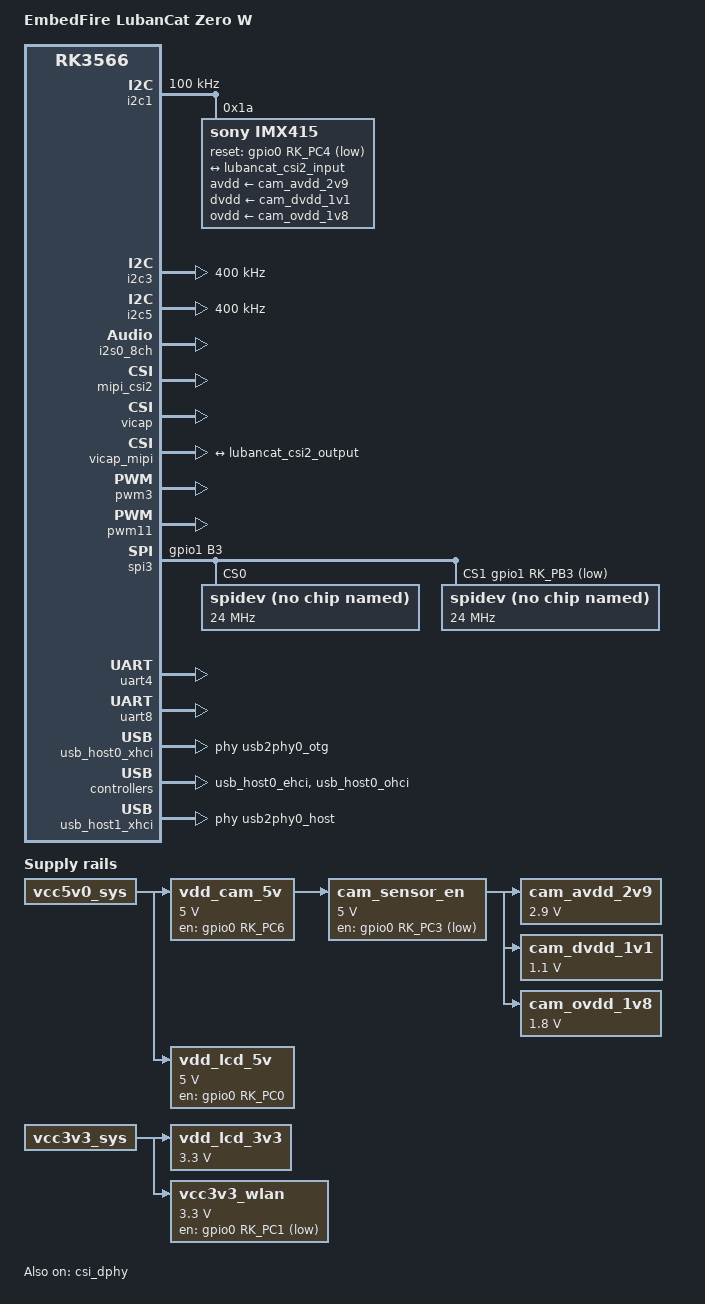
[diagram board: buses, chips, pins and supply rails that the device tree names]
// SPDX-License-Identifier: (GPL-2.0+ OR MIT)
/dts-v1/;
#include <dt-bindings/media/video-interfaces.h>
#include "rk3566-lubancat-1.dts"

/*
 * LubanCat Zero W shares the RK809 power tree with LubanCat 1, but has a
 * different peripheral layout.  In particular it has no eMMC, Ethernet or
 * PCIe connector.  Its TL8821CUB WLAN/BT module is attached to USB_HOST2.
 */

/delete-node/ &gmac1_clkin;
/delete-node/ &vcc3v3_pcie;
/delete-node/ &vcc5v0_usb20_host;
/delete-node/ &vcc5v0_usb30_host;

/ {
	model = "EmbedFire LubanCat Zero W";
	compatible = "embedfire,lubancat-zero-w", "embedfire,lubancat-zero",
		     "rockchip,rk3566";

	aliases {
		/delete-property/ ethernet0;
		/delete-property/ mmc1;
	};

	/*
	 * PWM0_M1 is routed to the backlight pin on the DSI connector.  A panel
	 * description must enable this node because brightness curves and panel
	 * initialization sequences are panel specific.
	 */
	dsi_backlight: backlight {
		compatible = "pwm-backlight";
		power-supply = <&vdd_lcd_5v>;
		pwms = <&pwm0 0 50000 0>;
		status = "disabled";
	};

	imx415_clk: clock-imx415 {
		compatible = "fixed-clock";
		#clock-cells = <0>;
		clock-frequency = <37125000>;
		clock-output-names = "imx415_xvclk";
	};

	/* Switched 5 V rail routed to the MIPI-CSI connector. */
	vdd_cam_5v: regulator-vdd-cam-5v {
		compatible = "regulator-fixed";
		enable-active-high;
		gpio = <&gpio0 RK_PC6 GPIO_ACTIVE_HIGH>;
		pinctrl-names = "default";
		pinctrl-0 = <&cam_pwr_en>;
		regulator-name = "vdd_cam_5v";
		regulator-min-microvolt = <5000000>;
		regulator-max-microvolt = <5000000>;
		startup-delay-us = <5000>;
		vin-supply = <&vcc5v0_sys>;
	};

	/* CAM_PWDN is active high, so low enables the camera module. */
	cam_sensor_en: regulator-camera-enable {
		compatible = "regulator-fixed";
		gpio = <&gpio0 RK_PC3 GPIO_ACTIVE_LOW>;
		pinctrl-names = "default";
		pinctrl-0 = <&cam_pwdn>;
		regulator-name = "cam_sensor_enable";
		regulator-min-microvolt = <5000000>;
		regulator-max-microvolt = <5000000>;
		vin-supply = <&vdd_cam_5v>;
	};

	/* The IMX415 module derives its sensor rails from the connector's 5 V. */
	cam_avdd_2v9: regulator-camera-avdd {
		compatible = "regulator-fixed";
		regulator-name = "cam_avdd_2v9";
		regulator-min-microvolt = <2900000>;
		regulator-max-microvolt = <2900000>;
		vin-supply = <&cam_sensor_en>;
	};

	cam_dvdd_1v1: regulator-camera-dvdd {
		compatible = "regulator-fixed";
		regulator-name = "cam_dvdd_1v1";
		regulator-min-microvolt = <1100000>;
		regulator-max-microvolt = <1100000>;
		vin-supply = <&cam_sensor_en>;
	};

	cam_ovdd_1v8: regulator-camera-ovdd {
		compatible = "regulator-fixed";
		regulator-name = "cam_ovdd_1v8";
		regulator-min-microvolt = <1800000>;
		regulator-max-microvolt = <1800000>;
		vin-supply = <&cam_sensor_en>;
	};

	/* 5 V rail for an optional MIPI-DSI panel. */
	vdd_lcd_5v: regulator-vdd-lcd-5v {
		compatible = "regulator-fixed";
		enable-active-high;
		gpio = <&gpio0 RK_PC0 GPIO_ACTIVE_HIGH>;
		pinctrl-names = "default";
		pinctrl-0 = <&lcd_pwr_en>;
		regulator-name = "vdd_lcd_5v";
		regulator-min-microvolt = <5000000>;
		regulator-max-microvolt = <5000000>;
		vin-supply = <&vcc5v0_sys>;
	};

	/* The connector's 3.3 V rail is enabled in hardware. */
	vdd_lcd_3v3: regulator-vdd-lcd-3v3 {
		compatible = "regulator-fixed";
		regulator-always-on;
		regulator-boot-on;
		regulator-name = "vdd_lcd_3v3";
		regulator-min-microvolt = <3300000>;
		regulator-max-microvolt = <3300000>;
		vin-supply = <&vcc3v3_sys>;
	};

	/* Active-low gate for the onboard TL8821CUB USB WLAN/BT module. */
	vcc3v3_wlan: regulator-vcc3v3-wlan {
		compatible = "regulator-fixed";
		gpio = <&gpio0 RK_PC1 GPIO_ACTIVE_LOW>;
		pinctrl-names = "default";
		pinctrl-0 = <&wlan_pwr_en>;
		regulator-always-on;
		regulator-boot-on;
		regulator-name = "vcc3v3_wlan";
		regulator-min-microvolt = <3300000>;
		regulator-max-microvolt = <3300000>;
		vin-supply = <&vcc3v3_sys>;
	};
};

&combphy1 {
	status = "disabled";
};

&combphy2 {
	status = "disabled";
};

/*
 * The DSI connector is wired to DSI0 and I2C1.  RK3566 only supports one
 * display output, so a panel-specific overlay must disable HDMI, add the
 * panel node, then enable DSI0, its PHY and the backlight.  Keep this path
 * disabled by default because panel initialization sequences differ.
 */
&dsi_dphy0 {
	status = "disabled";
};

&dsi0 {
	status = "disabled";

	ports {
		dsi0_in: port@0 {
			reg = <0>;

			dsi0_in_vp0: endpoint {
				remote-endpoint = <&vp0_out_dsi0>;
			};
		};
	};
};

&gmac1 {
	status = "disabled";
};

/* I2C1 is shared by the MIPI-DSI touch controller and MIPI-CSI camera. */
&i2c1 {
	clock-frequency = <100000>;
	status = "okay";

	imx415: camera@1a {
		compatible = "sony,imx415";
		reg = <0x1a>;
		avdd-supply = <&cam_avdd_2v9>;
		clocks = <&imx415_clk>;
		dvdd-supply = <&cam_dvdd_1v1>;
		ovdd-supply = <&cam_ovdd_1v8>;
		pinctrl-names = "default";
		pinctrl-0 = <&cam_reset>;
		reset-gpios = <&gpio0 RK_PC4 GPIO_ACTIVE_LOW>;

		port {
			imx415_out: endpoint {
				data-lanes = <1 2>;
				link-frequencies = /bits/ 64 <445500000>;
				remote-endpoint = <&lubancat_csi2_input>;
			};
		};
	};

	/* Optional GT911 fitted to EmbedFire's DSI touch displays. */
	touchscreen@5d {
		compatible = "goodix,gt911";
		reg = <0x5d>;
		AVDD28-supply = <&vdd_lcd_3v3>;
		VDDIO-supply = <&vdd_lcd_3v3>;
		interrupt-parent = <&gpio3>;
		interrupts = <RK_PA1 IRQ_TYPE_LEVEL_LOW>;
		irq-gpios = <&gpio3 RK_PA1 GPIO_ACTIVE_HIGH>;
		pinctrl-names = "default";
		pinctrl-0 = <&touch_int &touch_reset>;
		reset-gpios = <&gpio3 RK_PA2 GPIO_ACTIVE_LOW>;
		status = "disabled";
		touchscreen-inverted-x;
		touchscreen-inverted-y;
	};
};

/* 40-pin header pins 3 (SDA) and 5 (SCL). Conflicts with UART3. */
&i2c3 {
	clock-frequency = <400000>;
	pinctrl-names = "default";
	pinctrl-0 = <&i2c3m0_xfer>;
	status = "okay";
};

/* 40-pin header pins 27 (SDA) and 28 (SCL). */
&i2c5 {
	clock-frequency = <400000>;
	pinctrl-names = "default";
	pinctrl-0 = <&i2c5m0_xfer>;
	status = "okay";
};

/* HDMI audio uses I2S0 as its CPU DAI. */
&i2s0_8ch {
	status = "okay";
};

&i2s1_8ch {
	status = "disabled";
};

/* Two-lane IMX415 4K15 -> CSI-2 host -> VICAP capture path. */
&csi_dphy {
	status = "okay";
};

&mipi_csi2 {
	status = "okay";
};

&mipi_csi2_in {
	lubancat_csi2_input: endpoint {
		bus-type = <MEDIA_BUS_TYPE_CSI2_DPHY>;
		data-lanes = <1 2>;
		remote-endpoint = <&imx415_out>;
	};
};

&mipi_csi2_out {
	lubancat_csi2_output: endpoint {
		remote-endpoint = <&lubancat_vicap_input>;
	};
};

&vicap {
	status = "okay";
};

&vicap_mipi {
	lubancat_vicap_input: endpoint {
		remote-endpoint = <&lubancat_csi2_output>;
	};
};

&vicap_mmu {
	status = "okay";
};

&pcie2x1 {
	/delete-property/ vpcie3v3-supply;
	status = "disabled";
};

&pinctrl {
	camera {
		cam_pwr_en: cam-pwr-en {
			rockchip,pins = <0 RK_PC6 RK_FUNC_GPIO &pcfg_pull_none>;
		};

		cam_pwdn: cam-pwdn {
			rockchip,pins = <0 RK_PC3 RK_FUNC_GPIO &pcfg_pull_none>;
		};

		cam_reset: cam-reset {
			rockchip,pins = <0 RK_PC4 RK_FUNC_GPIO &pcfg_pull_none>;
		};
	};

	display {
		lcd_pwr_en: lcd-pwr-en {
			rockchip,pins = <0 RK_PC0 RK_FUNC_GPIO &pcfg_pull_none>;
		};

		lcd_reset: lcd-reset {
			rockchip,pins = <3 RK_PA4 RK_FUNC_GPIO &pcfg_pull_none>;
		};

		lcd_te: lcd-te {
			rockchip,pins = <3 RK_PA3 RK_FUNC_GPIO &pcfg_pull_none>;
		};

		touch_int: touch-int {
			rockchip,pins = <3 RK_PA1 RK_FUNC_GPIO &pcfg_pull_up>;
		};

		touch_reset: touch-reset {
			rockchip,pins = <3 RK_PA2 RK_FUNC_GPIO &pcfg_pull_none>;
		};
	};

	spi3-cs {
		spi3_cs1_gpio: spi3-cs1-gpio {
			rockchip,pins = <1 RK_PB3 RK_FUNC_GPIO &pcfg_pull_up>;
		};
	};

	wlan {
		wlan_pwr_en: wlan-pwr-en {
			rockchip,pins = <0 RK_PC1 RK_FUNC_GPIO &pcfg_pull_none>;
		};
	};
};

/* PWM0_M1 drives LCD_BL_PWM; a panel overlay enables it with DSI0. */
&pwm0 {
	pinctrl-names = "default";
	pinctrl-0 = <&pwm0m1_pins>;
	status = "disabled";
};

/* PWM3 on header pin 12. */
&pwm3 {
	status = "okay";
};

/* PWM11 on header pin 32. */
&pwm11 {
	pinctrl-names = "default";
	pinctrl-0 = <&pwm11m0_pins>;
	status = "okay";
};

/* The board has no eMMC; the microSD card is mmc0. */
&sdhci {
	status = "disabled";
};

/*
 * SPI3 on pins 19/21/23/24. Pin 26 is a second, GPIO-driven chip select.
 * This default provides /dev/spidev* for development on both chip selects.
 */
&spi3 {
	cs-gpios = <0>, <&gpio1 RK_PB3 GPIO_ACTIVE_LOW>;
	pinctrl-names = "default";
	pinctrl-0 = <&spi3m1_pins &spi3m1_cs0 &spi3_cs1_gpio>;
	status = "okay";

	spidev@0 {
		compatible = "rohm,dh2228fv";
		reg = <0>;
		spi-max-frequency = <24000000>;
	};

	spidev@1 {
		compatible = "rohm,dh2228fv";
		reg = <1>;
		spi-max-frequency = <24000000>;
	};
};

/* UART4 on header pins 33/35. Conflicts with PWM8/PWM9. */
&uart4 {
	pinctrl-names = "default";
	pinctrl-0 = <&uart4m1_xfer>;
	status = "okay";
};

/* UART8 on header pins 8/10. */
&uart8 {
	pinctrl-names = "default";
	pinctrl-0 = <&uart8m0_xfer>;
	status = "okay";
};

/* USB_OTG0: Type-C power/download connector, USB 2.0 only. */
&usb_host0_xhci {
	maximum-speed = "high-speed";
	phy-names = "usb2-phy";
	phys = <&usb2phy0_otg>;
	status = "okay";
};

/* USB_HOST2: onboard TL8821CUB WLAN/BT. */
&usb_host0_ehci {
	status = "okay";
};

&usb_host0_ohci {
	status = "okay";
};

/* USB_HOST3 is not connected on the Zero W. */
&usb2phy1_host {
	status = "disabled";
};

&usb_host1_ehci {
	status = "disabled";
};

&usb_host1_ohci {
	status = "disabled";
};

/* USB_HOST1: external Type-C host connector, USB 2.0 only. */
&usb_host1_xhci {
	maximum-speed = "high-speed";
	phy-names = "usb2-phy";
	phys = <&usb2phy0_host>;
	status = "okay";
};

&vp0 {
	vp0_out_dsi0: endpoint@ROCKCHIP_VOP2_EP_MIPI0 {
		reg = <ROCKCHIP_VOP2_EP_MIPI0>;
		remote-endpoint = <&dsi0_in_vp0>;
	};
};
